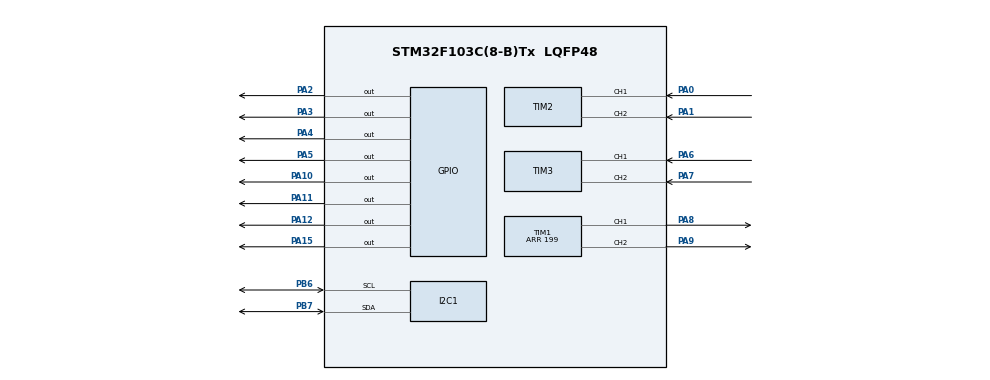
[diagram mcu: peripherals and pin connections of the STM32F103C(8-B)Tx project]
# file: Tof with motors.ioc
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I2C1.I2C_Mode=I2C_Fast
Mcu.Family=STM32F1
Mcu.Name=STM32F103C(8-B)Tx
Mcu.Package=LQFP48
NVIC.PriorityGroup=NVIC_PRIORITYGROUP_4
NVIC.TIM2_IRQn=true\:0\:0\:false\:false\:true\:true\:true\:true
NVIC.TIM3_IRQn=true\:0\:0\:false\:false\:true\:true\:true\:true
PA0-WKUP.Signal=S_TIM2_CH1_ETR
PA1.Signal=S_TIM2_CH2
PA10.Signal=GPIO_Output
PA11.Signal=GPIO_Output
PA12.Signal=GPIO_Output
PA13.Mode=Serial_Wire
PA13.Signal=SYS_JTMS-SWDIO
PA14.Mode=Serial_Wire
PA14.Signal=SYS_JTCK-SWCLK
PA15.Signal=GPIO_Output
PA2.Signal=GPIO_Output
PA3.Signal=GPIO_Output
PA4.Signal=GPIO_Output
PA5.Signal=GPIO_Output
PA6.Signal=S_TIM3_CH1
PA7.Signal=S_TIM3_CH2
PA8.Signal=S_TIM1_CH1
PA9.Signal=S_TIM1_CH2
PB6.Mode=I2C
PB6.Signal=I2C1_SCL
PB7.Mode=I2C
PB7.Signal=I2C1_SDA
ProjectManager.HeapSize=0x200
ProjectManager.StackSize=0x400
ProjectManager.TargetToolchain=STM32CubeIDE
RCC.APB1Freq_Value=8000000
RCC.APB2Freq_Value=8000000
SH.S_TIM1_CH1.0=TIM1_CH1,PWM Generation1 CH1
SH.S_TIM1_CH2.0=TIM1_CH2,PWM Generation2 CH2
SH.S_TIM2_CH1_ETR.0=TIM2_CH1,Encoder_Interface
SH.S_TIM2_CH2.0=TIM2_CH2,Encoder_Interface
SH.S_TIM3_CH1.0=TIM3_CH1,Encoder_Interface
SH.S_TIM3_CH2.0=TIM3_CH2,Encoder_Interface
TIM1.Channel-PWM\ Generation1\ CH1=TIM_CHANNEL_1
TIM1.Channel-PWM\ Generation2\ CH2=TIM_CHANNEL_2
TIM1.Period=199
TIM2.IC1Filter=5
TIM2.IC2Filter=5
TIM3.IC1Filter=5
TIM3.IC2Filter=5
VP_TIM1_VS_ClockSourceINT.Mode=Internal
board=custom

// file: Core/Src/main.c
/* USER CODE BEGIN Header */
/**
  ******************************************************************************
  * @file           : main.c
  * @brief          : Main program body
  ******************************************************************************
  * @attention
  *
  * Copyright (c) 2025 STMicroelectronics.
  * All rights reserved.
  *
  * This software is licensed under terms that can be found in the LICENSE file
  * in the root directory of this software component.
  * If no LICENSE file comes with this software, it is provided AS-IS.
  *
  ******************************************************************************
  */
/* USER CODE END Header */
#include "main.h"

/* USER CODE BEGIN Includes */
#include "fonts.h"
#include "ssd1306.h"
#include "VL53L0X.h"
#include "stdio.h"
#include "motors.h"
#include "wallFollow.h"
/* USER CODE END Includes */

extern I2C_HandleTypeDef hi2c1;

extern TIM_HandleTypeDef htim1;
extern TIM_HandleTypeDef htim2;
extern TIM_HandleTypeDef htim3;

void SystemClock_Config(void);
static void MX_GPIO_Init(void);
static void MX_I2C1_Init(void);
static void MX_TIM1_Init(void);
static void MX_TIM2_Init(void);
static void MX_TIM3_Init(void);

/* USER CODE BEGIN 0 */
void scanI2CBus(void) {
    char buffer[16];
    SSD1306_Clear();
    SSD1306_GotoXY(0, 0);
    SSD1306_Puts("I2C Scan:", &Font_11x18, 1);

    for (uint8_t address = 1; address < 128; address++) {
        // Perform an I2C write operation to check if the device responds
        if (HAL_I2C_IsDeviceReady(&hi2c1, (address << 1), 1, 10) == HAL_OK) {
            snprintf(buffer, sizeof(buffer), "Found: 0x%02X", address);
            SSD1306_GotoXY(0, 30);
            SSD1306_Puts(buffer, &Font_11x18, 1);
            SSD1306_UpdateScreen();
            HAL_Delay(1000);
            //SD1306_Clear();// Delay to display each address found
        }
    }
    HAL_Delay(2000);  // Delay at the end of the scan
}

/* USER CODE END 0 */

int main(void)
{

  /* MCU Configuration--------------------------------------------------------*/

  /* Reset of all peripherals, Initializes the Flash interface and the Systick. */
  HAL_Init();

  /* Configure the system clock */
  SystemClock_Config();

  /* Initialize all configured peripherals */
  MX_GPIO_Init();
  MX_I2C1_Init();
  MX_TIM1_Init();
  MX_TIM2_Init();
  MX_TIM3_Init();
  /* USER CODE BEGIN 2 */
  SSD1306_Init();
  HAL_GPIO_WritePin(GPIOA, GPIO_PIN_3, 1);  // Enable Sensor 1
  HAL_GPIO_WritePin(GPIOA, GPIO_PIN_4, 0);  // Disable Sensor 2
  HAL_GPIO_WritePin(GPIOA, GPIO_PIN_5, 0);
  HAL_Delay(50);
  if (VL53L0X_Init(0x29) == HAL_OK)
  {
	  SSD1306_GotoXY(0, 30);
  	  SSD1306_Puts("Success", &Font_11x18, 1);
  	  HAL_Delay(2000);
  	  SSD1306_UpdateScreen();
    }
  else
  {
  	  SSD1306_GotoXY(0, 30);
  	  SSD1306_Puts("Faild8", &Font_11x18, 1);
  	  HAL_Delay(2000);
  	  SSD1306_UpdateScreen();
  }

  if (SetAddress(0x31) == HAL_OK)
  {
	  SSD1306_GotoXY(0, 30);
  	  SSD1306_Puts("Success", &Font_11x18, 1);
  	  HAL_Delay(2000);
  	  SSD1306_UpdateScreen();
   }
   else
   {
  	  SSD1306_GotoXY(0, 30);
  	  SSD1306_Puts("Faild8", &Font_11x18, 1);
  	  HAL_Delay(2000);
  	  SSD1306_UpdateScreen();
   }

    HAL_Delay(10);

    SSD1306_GotoXY(0, 30);
    SSD1306_Puts("Initialized1", &Font_11x18, 1);
    SSD1306_UpdateScreen();
    HAL_Delay(1000);
    SSD1306_Clear();

    //scanI2CBus();
    SSD1306_Clear();

      // Enable Sensor 1
    HAL_GPIO_WritePin(GPIOA, GPIO_PIN_4, 0);  // Disable Sensor 2
    HAL_GPIO_WritePin(GPIOA, GPIO_PIN_5, 1);
    HAL_Delay(50);
    if (VL53L0X_Init(0x29) == HAL_OK)
    {
    	SSD1306_GotoXY(0, 30);
      	SSD1306_Puts("Success", &Font_11x18, 1);
      	HAL_Delay(2000);
      	SSD1306_UpdateScreen();
     }
    else
     {
    	SSD1306_GotoXY(0, 30);
      	SSD1306_Puts("Faild8", &Font_11x18, 1);
      	HAL_Delay(2000);
      	SSD1306_UpdateScreen();
      }

    if (SetAddress(0x32) == HAL_OK)
      {
    	SSD1306_GotoXY(0, 30);
      	SSD1306_Puts("Success", &Font_11x18, 1);
      	HAL_Delay(2000);
      	SSD1306_UpdateScreen();
       }
    else
       {
      	SSD1306_GotoXY(0, 30);
      	SSD1306_Puts("Faild8", &Font_11x18, 1);
      	HAL_Delay(2000);
      	SSD1306_UpdateScreen();
        }

    HAL_Delay(10);

    SSD1306_GotoXY(0, 30);
    SSD1306_Puts("Initialized1", &Font_11x18, 1);
    SSD1306_UpdateScreen();
    HAL_Delay(1000);
    SSD1306_Clear();

    //scanI2CBus();
    SSD1306_Clear();

    HAL_GPIO_WritePin(GPIOA, GPIO_PIN_4, 1);
    HAL_Delay(50);
    if (VL53L0X_Init(0x29) == HAL_OK)
    {
    	SSD1306_GotoXY(0, 30);
        SSD1306_Puts("Success", &Font_11x18, 1);
        HAL_Delay(2000);
        SSD1306_UpdateScreen();
     }
    else
     {
    	SSD1306_GotoXY(0, 30);
        SSD1306_Puts("Faild8", &Font_11x18, 1);
        HAL_Delay(2000);
        SSD1306_UpdateScreen();
      }

    if (SetAddress(0x33) == HAL_OK)
       {
    	SSD1306_GotoXY(0, 30);
        SSD1306_Puts("Success", &Font_11x18, 1);
        HAL_Delay(2000);
        SSD1306_UpdateScreen();
        }
    else
        {
    	SSD1306_GotoXY(0, 30);
        SSD1306_Puts("Faild8", &Font_11x18, 1);
        HAL_Delay(2000);
        SSD1306_UpdateScreen();
         }

    HAL_Delay(10);

    SSD1306_GotoXY(0, 30);
    SSD1306_Puts("Initialized1", &Font_11x18, 1);
    SSD1306_UpdateScreen();
    HAL_Delay(1000);
    SSD1306_Clear();

    scanI2CBus();
    SSD1306_Clear();

//    uint16_t distance1;
//    uint16_t distance2;
//    uint16_t distance3;
    char buffer1[16];
    char buffer2[16];
    char buffer3[16];

  int counterValueLeft=0;
  int counterValueRight=0;

  int precounterValueLeft=0;
  int precounterValueRight=0;
//  float integral = 0;
//  float prevError = 0;
//  int leftPWM = 150;
//  int rightPWM = 150;
//  int targetSpeed = 130;

//  float Kpencoder = 0.08;
//  float Kiencoder = 0;
//  float Kdencoder = 0.1;

  char snumLeft[5];
  char snumRight[5];

//    int constrain(int value, int min, int max) {
//        if (value < min) return min;
//        if (value > max) return max;
//        return value;
//    }

//  SSD1306_GotoXY (0,0);
//  SSD1306_Puts ("Ravindu", &Font_11x18, 1);
//  SSD1306_GotoXY (0, 30);
//  SSD1306_Puts ("Rashmika", &Font_11x18, 1);
//  SSD1306_UpdateScreen();
//  HAL_Delay (1000);
//
//  SSD1306_ScrollRight(0,7);
//  HAL_Delay(3000);
//  SSD1306_ScrollLeft(0,7);
//  HAL_Delay(3000);
//  SSD1306_Stopscroll();
  SSD1306_Clear();

  HAL_TIM_Encoder_Start(&htim2,TIM_CHANNEL_ALL);
  HAL_TIM_Encoder_Start(&htim3,TIM_CHANNEL_ALL);

  TIM2->CNT=0;
  TIM3->CNT=0;

  char rightStr[10], leftStr[10], errorStr[15];
  /* USER CODE END 2 */

  /* Infinite loop */
  /* USER CODE BEGIN WHILE */
  while (1)
  {
//	  distance1 = readDistance(0x31);
//	  distance2 = readDistance(0x32);
//	  distance3 = readDistance(0x33);

	  //cellBreak();

//	  SSD1306_GotoXY(0, 0); // Set cursor position for distance1
//	  SSD1306_Puts("D1: ", &Font_11x18, 1); // Prefix for clarity
//	  if (distance1 == 0xFFFF) {
//	      SSD1306_Puts("Err", &Font_11x18, 1); // Display "Err" for invalid data
//	  } else {
//	      snprintf(buffer1, sizeof(buffer1), "%4d", distance1); // Format with fixed width
//	      SSD1306_Puts(buffer1, &Font_11x18, 1);
//	  }
//
//	  SSD1306_GotoXY(0, 20); // Set cursor position for distance2
//	  SSD1306_Puts("D2: ", &Font_11x18, 1); // Prefix for clarity
//	  if (distance2 == 0xFFFF) {
//	      SSD1306_Puts("Err", &Font_11x18, 1); // Display "Err" for invalid data
//	  } else {
//	      snprintf(buffer2, sizeof(buffer2), "%4d", distance2); // Format with fixed width
//	      SSD1306_Puts(buffer2, &Font_11x18, 1);
//	  }
//
//
//	  SSD1306_GotoXY(0, 40); // Set cursor position for distance3
//	  SSD1306_Puts("D3: ", &Font_11x18, 1); // Prefix for clarity
//	  if (distance3 == 0xFFFF) {
//	      SSD1306_Puts("Err", &Font_11x18, 1); // Display "Err" for invalid data
//	  } else {
//	      snprintf(buffer3, sizeof(buffer3), "%4d", distance3); // Format with fixed width
//	      SSD1306_Puts(buffer3, &Font_11x18, 1);
//	  }
//
//	  SSD1306_UpdateScreen();
	  //HAL_Delay(200); // Delay for readability

//
//	  	  HAL_GPIO_WritePin(GPIOA, GPIO_PIN_2, 0);
//	  	  HAL_Delay(50);
//	  	  HAL_GPIO_WritePin(GPIOA, GPIO_PIN_2, 1);
////	  	  HAL_TIM_Encoder_Stop(&htim2,TIM_CHANNEL_ALL);
////	  	  HAL_TIM_Encoder_Stop(&htim3,TIM_CHANNEL_ALL);
//
//	  	  counterValueRight = TIM3->CNT;
//	  	  counterValueLeft = TIM2->CNT;
//

	  	  //int delta_left = counterValueLeft-precounterValueLeft;
	  	  //int delta_right = counterValueRight-precounterValueRight;

	  	  //float Error = distance1 - distance2;
	  	  //float derivative = Error-prevError;
//	  	if (abs(integral) > 50) integral = 50;  // Prevents excessive integral buildup
//	  	integral += Error / 10.0;
//
//	  	  float derivative = (Error-prevError)/10.0;
	  	  //prevError = Error;

//	  	if (counterValueRight > 60000 || counterValueLeft > 60000) {
//	  		TIM3->CNT = Error + 30000;
//	  		TIM2->CNT = 30000;
//	  	}

//	  	  int Correction = calculateCorrection(distance1,distance2,Kpencoder,Kdencoder);

//	  		leftPWM = targetSpeed+Correction;
//	  		rightPWM = targetSpeed-Correction;

	  	  // Adjust both motors symmetrically
  // Apply correction to right motor as well

//	  	  leftPWM = constrain(leftPWM, 0, 200);
//	  	  rightPWM = constrain(rightPWM, 0, 200);
//
//	  	  foward();
	  solver();

//	  		  HAL_GPIO_WritePin(GPIOA, GPIO_PIN_10, 0);  // Enable motor LEFT
//	  		  HAL_GPIO_WritePin(GPIOA, GPIO_PIN_11, 1);
//	  		  HAL_GPIO_WritePin(GPIOA, GPIO_PIN_12, 1);
//	  		  HAL_GPIO_WritePin(GPIOA, GPIO_PIN_15, 0);
//	  		  	  TIM1->CCR1 = leftPWM;
//	  		  	  TIM1->CCR2 = rightPWM;// 50% duty cycle for TIM_CHANNEL_1
//	  		  HAL_TIM_PWM_Start(&htim1, TIM_CHANNEL_1);
//	  		  HAL_TIM_PWM_Start(&htim1, TIM_CHANNEL_2);

	  //	  itoa(leftPWM, snumLeft, 10);
	  //	  itoa(rightPWM, snumRight, 10);
	  //	  SSD1306_GotoXY (37, 10);
	  //	  SSD1306_Puts (snumLeft, &Font_11x18, 1);
	  //	  SSD1306_GotoXY (37, 40);
	  //	  SSD1306_Puts (snumRight, &Font_11x18, 1);
	  //
	  //	  SSD1306_UpdateScreen();
//
//	  	  HAL_TIM_Encoder_Start(&htim2,TIM_CHANNEL_ALL);
//	  	  HAL_TIM_Encoder_Start(&htim3,TIM_CHANNEL_ALL);
//
////
//	      sprintf(rightStr, "E: %d", distance1);
//	      sprintf(leftStr, "D: %d",distance2 );
//	      //sprintf(errorStr, "C: %d", Correction);
//
//	      // Display on OLED
//	      SSD1306_Clear();
//	      SSD1306_GotoXY(10, 5);
//	      SSD1306_Puts(leftStr, &Font_11x18, 1); // Left encoder
//	      SSD1306_GotoXY(10, 25);
//	      SSD1306_Puts(rightStr, &Font_11x18, 1); // Right encoder
//	      SSD1306_GotoXY(10, 45);
//	      SSD1306_Puts(errorStr, &Font_11x18, 1);
//	      SSD1306_UpdateScreen(); // Refresh OLED

//	      if (counterValueRight > 60000 || counterValueLeft > 60000) {
//	      	  		TIM3->CNT = (distance1 - distance2) + 30000;
//	      	  		TIM2->CNT = 30000;
//	      	  	}

//	      if (counterValueRight > 1800 || counterValueLeft > 1800) {
//	    	  	  	  	  	stop();
//	      	      	  		TIM3->CNT = 0;
//	      	      	  		TIM2->CNT = 0;
//
//	      	      	  	SSD1306_Clear();
//	      	      	  			SSD1306_GotoXY(0, 30);
//	      	      	  			    SSD1306_Puts("Done", &Font_11x18, 1);
//	      	      	  			    SSD1306_UpdateScreen();
//	      	      	  			    HAL_Delay(1000);
//	      	      	  			    SSD1306_Clear();
//	      	      	  			    HAL_Delay(3000);
//	      }

//	      if(distance1>200 || distance2>200){
//	    	  stop();
//	    	  HAL_Delay(2000);
//	    	  Turnright();
//	    	  HAL_Delay(2000);
//	      }

    /* USER CODE END WHILE */

  }
}

void SystemClock_Config(void)
{
  RCC_OscInitTypeDef RCC_OscInitStruct = {0};
  RCC_ClkInitTypeDef RCC_ClkInitStruct = {0};

  /** Initializes the RCC Oscillators according to the specified parameters
  * in the RCC_OscInitTypeDef structure.
  */
  RCC_OscInitStruct.OscillatorType = RCC_OSCILLATORTYPE_HSI;
  RCC_OscInitStruct.HSIState = RCC_HSI_ON;
  RCC_OscInitStruct.HSICalibrationValue = RCC_HSICALIBRATION_DEFAULT;
  RCC_OscInitStruct.PLL.PLLState = RCC_PLL_NONE;
  if (HAL_RCC_OscConfig(&RCC_OscInitStruct) != HAL_OK)
  {
    Error_Handler();
  }

  /** Initializes the CPU, AHB and APB buses clocks
  */
  RCC_ClkInitStruct.ClockType = RCC_CLOCKTYPE_HCLK|RCC_CLOCKTYPE_SYSCLK
                              |RCC_CLOCKTYPE_PCLK1|RCC_CLOCKTYPE_PCLK2;
  RCC_ClkInitStruct.SYSCLKSource = RCC_SYSCLKSOURCE_HSI;
  RCC_ClkInitStruct.AHBCLKDivider = RCC_SYSCLK_DIV1;
  RCC_ClkInitStruct.APB1CLKDivider = RCC_HCLK_DIV1;
  RCC_ClkInitStruct.APB2CLKDivider = RCC_HCLK_DIV1;

  if (HAL_RCC_ClockConfig(&RCC_ClkInitStruct, FLASH_LATENCY_0) != HAL_OK)
  {
    Error_Handler();
  }
}

static void MX_I2C1_Init(void)
{

  hi2c1.Instance = I2C1;
  hi2c1.Init.ClockSpeed = 400000;
  hi2c1.Init.DutyCycle = I2C_DUTYCYCLE_2;
  hi2c1.Init.OwnAddress1 = 0;
  hi2c1.Init.AddressingMode = I2C_ADDRESSINGMODE_7BIT;
  hi2c1.Init.DualAddressMode = I2C_DUALADDRESS_DISABLE;
  hi2c1.Init.OwnAddress2 = 0;
  hi2c1.Init.GeneralCallMode = I2C_GENERALCALL_DISABLE;
  hi2c1.Init.NoStretchMode = I2C_NOSTRETCH_DISABLE;
  if (HAL_I2C_Init(&hi2c1) != HAL_OK)
  {
    Error_Handler();
  }

}

static void MX_TIM1_Init(void)
{

  TIM_ClockConfigTypeDef sClockSourceConfig = {0};
  TIM_MasterConfigTypeDef sMasterConfig = {0};
  TIM_OC_InitTypeDef sConfigOC = {0};
  TIM_BreakDeadTimeConfigTypeDef sBreakDeadTimeConfig = {0};

  htim1.Instance = TIM1;
  htim1.Init.Prescaler = 0;
  htim1.Init.CounterMode = TIM_COUNTERMODE_UP;
  htim1.Init.Period = 199;
  htim1.Init.ClockDivision = TIM_CLOCKDIVISION_DIV1;
  htim1.Init.RepetitionCounter = 0;
  htim1.Init.AutoReloadPreload = TIM_AUTORELOAD_PRELOAD_DISABLE;
  if (HAL_TIM_Base_Init(&htim1) != HAL_OK)
  {
    Error_Handler();
  }
  sClockSourceConfig.ClockSource = TIM_CLOCKSOURCE_INTERNAL;
  if (HAL_TIM_ConfigClockSource(&htim1, &sClockSourceConfig) != HAL_OK)
  {
    Error_Handler();
  }
  if (HAL_TIM_PWM_Init(&htim1) != HAL_OK)
  {
    Error_Handler();
  }
  sMasterConfig.MasterOutputTrigger = TIM_TRGO_RESET;
  sMasterConfig.MasterSlaveMode = TIM_MASTERSLAVEMODE_DISABLE;
  if (HAL_TIMEx_MasterConfigSynchronization(&htim1, &sMasterConfig) != HAL_OK)
  {
    Error_Handler();
  }
  sConfigOC.OCMode = TIM_OCMODE_PWM1;
  sConfigOC.Pulse = 0;
  sConfigOC.OCPolarity = TIM_OCPOLARITY_HIGH;
  sConfigOC.OCNPolarity = TIM_OCNPOLARITY_HIGH;
  sConfigOC.OCFastMode = TIM_OCFAST_DISABLE;
  sConfigOC.OCIdleState = TIM_OCIDLESTATE_RESET;
  sConfigOC.OCNIdleState = TIM_OCNIDLESTATE_RESET;
  if (HAL_TIM_PWM_ConfigChannel(&htim1, &sConfigOC, TIM_CHANNEL_1) != HAL_OK)
  {
    Error_Handler();
  }
  if (HAL_TIM_PWM_ConfigChannel(&htim1, &sConfigOC, TIM_CHANNEL_2) != HAL_OK)
  {
    Error_Handler();
  }
  sBreakDeadTimeConfig.OffStateRunMode = TIM_OSSR_DISABLE;
  sBreakDeadTimeConfig.OffStateIDLEMode = TIM_OSSI_DISABLE;
  sBreakDeadTimeConfig.LockLevel = TIM_LOCKLEVEL_OFF;
  sBreakDeadTimeConfig.DeadTime = 0;
  sBreakDeadTimeConfig.BreakState = TIM_BREAK_DISABLE;
  sBreakDeadTimeConfig.BreakPolarity = TIM_BREAKPOLARITY_HIGH;
  sBreakDeadTimeConfig.AutomaticOutput = TIM_AUTOMATICOUTPUT_DISABLE;
  if (HAL_TIMEx_ConfigBreakDeadTime(&htim1, &sBreakDeadTimeConfig) != HAL_OK)
  {
    Error_Handler();
  }
  HAL_TIM_MspPostInit(&htim1);

}

static void MX_TIM2_Init(void)
{

  TIM_Encoder_InitTypeDef sConfig = {0};
  TIM_MasterConfigTypeDef sMasterConfig = {0};

  htim2.Instance = TIM2;
  htim2.Init.Prescaler = 0;
  htim2.Init.CounterMode = TIM_COUNTERMODE_UP;
  htim2.Init.Period = 65535;
  htim2.Init.ClockDivision = TIM_CLOCKDIVISION_DIV1;
  htim2.Init.AutoReloadPreload = TIM_AUTORELOAD_PRELOAD_DISABLE;
  sConfig.EncoderMode = TIM_ENCODERMODE_TI1;
  sConfig.IC1Polarity = TIM_ICPOLARITY_RISING;
  sConfig.IC1Selection = TIM_ICSELECTION_DIRECTTI;
  sConfig.IC1Prescaler = TIM_ICPSC_DIV1;
  sConfig.IC1Filter = 5;
  sConfig.IC2Polarity = TIM_ICPOLARITY_RISING;
  sConfig.IC2Selection = TIM_ICSELECTION_DIRECTTI;
  sConfig.IC2Prescaler = TIM_ICPSC_DIV1;
  sConfig.IC2Filter = 5;
  if (HAL_TIM_Encoder_Init(&htim2, &sConfig) != HAL_OK)
  {
    Error_Handler();
  }
  sMasterConfig.MasterOutputTrigger = TIM_TRGO_RESET;
  sMasterConfig.MasterSlaveMode = TIM_MASTERSLAVEMODE_DISABLE;
  if (HAL_TIMEx_MasterConfigSynchronization(&htim2, &sMasterConfig) != HAL_OK)
  {
    Error_Handler();
  }

}

static void MX_TIM3_Init(void)
{

  TIM_Encoder_InitTypeDef sConfig = {0};
  TIM_MasterConfigTypeDef sMasterConfig = {0};

  htim3.Instance = TIM3;
  htim3.Init.Prescaler = 0;
  htim3.Init.CounterMode = TIM_COUNTERMODE_UP;
  htim3.Init.Period = 65535;
  htim3.Init.ClockDivision = TIM_CLOCKDIVISION_DIV1;
  htim3.Init.AutoReloadPreload = TIM_AUTORELOAD_PRELOAD_DISABLE;
  sConfig.EncoderMode = TIM_ENCODERMODE_TI1;
  sConfig.IC1Polarity = TIM_ICPOLARITY_RISING;
  sConfig.IC1Selection = TIM_ICSELECTION_DIRECTTI;
  sConfig.IC1Prescaler = TIM_ICPSC_DIV1;
  sConfig.IC1Filter = 5;
  sConfig.IC2Polarity = TIM_ICPOLARITY_RISING;
  sConfig.IC2Selection = TIM_ICSELECTION_DIRECTTI;
  sConfig.IC2Prescaler = TIM_ICPSC_DIV1;
  sConfig.IC2Filter = 5;
  if (HAL_TIM_Encoder_Init(&htim3, &sConfig) != HAL_OK)
  {
    Error_Handler();
  }
  sMasterConfig.MasterOutputTrigger = TIM_TRGO_RESET;
  sMasterConfig.MasterSlaveMode = TIM_MASTERSLAVEMODE_DISABLE;
  if (HAL_TIMEx_MasterConfigSynchronization(&htim3, &sMasterConfig) != HAL_OK)
  {
    Error_Handler();
  }

}

static void MX_GPIO_Init(void)
{
  GPIO_InitTypeDef GPIO_InitStruct = {0};

  /* GPIO Ports Clock Enable */
  __HAL_RCC_GPIOA_CLK_ENABLE();
  __HAL_RCC_GPIOB_CLK_ENABLE();

  /*Configure GPIO pin Output Level */
  HAL_GPIO_WritePin(GPIOA, GPIO_PIN_2|GPIO_PIN_3|GPIO_PIN_4|GPIO_PIN_5
                          |GPIO_PIN_10|GPIO_PIN_11|GPIO_PIN_12|GPIO_PIN_15, GPIO_PIN_RESET);

  /*Configure GPIO pins : PA2 PA3 PA4 PA5
                           PA10 PA11 PA12 PA15 */
  GPIO_InitStruct.Pin = GPIO_PIN_2|GPIO_PIN_3|GPIO_PIN_4|GPIO_PIN_5
                          |GPIO_PIN_10|GPIO_PIN_11|GPIO_PIN_12|GPIO_PIN_15;
  GPIO_InitStruct.Mode = GPIO_MODE_OUTPUT_PP;
  GPIO_InitStruct.Pull = GPIO_NOPULL;
  GPIO_InitStruct.Speed = GPIO_SPEED_FREQ_LOW;
  HAL_GPIO_Init(GPIOA, &GPIO_InitStruct);

}

void Error_Handler(void)
{
  __disable_irq();
  while (1)
  {
  }
}
